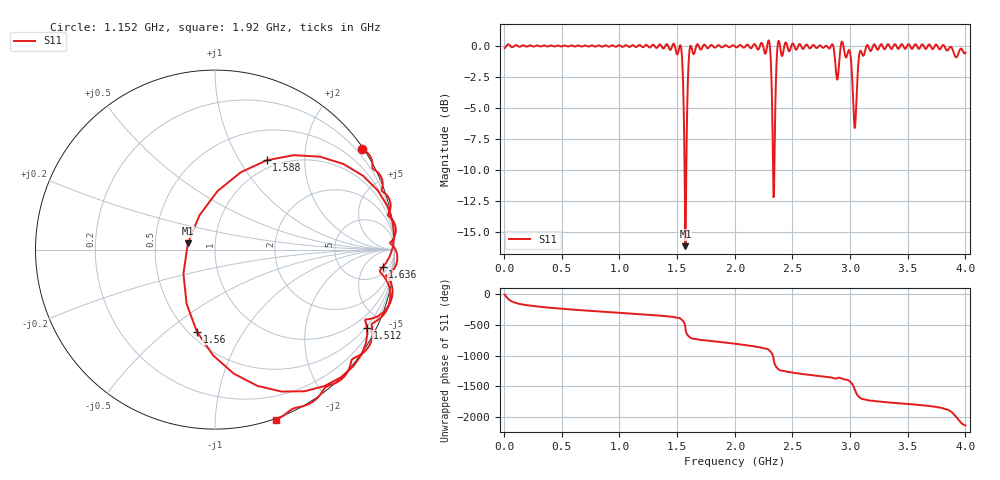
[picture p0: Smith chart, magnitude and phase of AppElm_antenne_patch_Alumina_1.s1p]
! TOUCHSTONE file generated by CST MICROWAVE STUDIO
! Date and time: Thu Jun  9 16:03:36 2022
! Project name: AppElm_antenne_patch_Alumina.cst
! Parameters = {L=30.5; W=41.8; e=0.035; h=1.6; lambda=0.190476; ls=67.5; w0=1.12; w1=0.373; ws=90; y0=14; y1=10}
! Header version: 2018
! Port assignment regex: !\s*Touchstone port\s*([0-9]+)\s*=\s*(CST MWS port|CST DS port)\s*([0-9]+|Zmin|Zmax)\s*\(\"(.*)\"\)(\s*mode\s*([0-9]+))?.*
! Touchstone port assignment:
! Touchstone port 1 = CST MWS port 1 ("")
# GHz S MA R 50
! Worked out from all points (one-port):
!   1000 points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, 4 MHz to 4 GHz, reference 50 ohm
!   lowest |S11| = -16.2 dB at 1.572 GHz (marker M1), VSWR 1.37, Z = 36.8 + j2.61 ohm
!   |S11| at or under -10 dB: 1.565 GHz to 1.58 GHz (15.01 MHz wide, 0.955 % of centre); 2.332421 GHz to 2.343134 GHz (10.71 MHz wide, 0.458 % of centre)
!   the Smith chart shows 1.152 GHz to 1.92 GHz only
!   S11 on the Smith chart (normalised r, x): 1.152 GHz: 0.04, +3.25; 1.512 GHz: 0.44, -4.08; 1.56 GHz: 0.55, -0.64; 1.588 GHz: 0.89, +1.32; 1.636 GHz: 8, -14; 1.92 GHz: -0.01, -1.42
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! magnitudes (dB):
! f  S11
! 4 MHz  -0.2
! 504 MHz  0.0
! 1.004 GHz  0.0
! 1.152 GHz  -0.1
! 1.504 GHz  -0.7
! 1.512 GHz  -0.4
! 1.54 GHz  -0.6
! 1.56 GHz  -6.6
! 1.572 GHz  -16.2
! 1.588 GHz  -4.8
! 1.608 GHz  -0.3
! 1.636 GHz  -0.5
! 1.92 GHz  0.1
! 2.004 GHz  -0.1
! 2.292 GHz  0.4
! 2.304 GHz  0.0
! 2.336 GHz  -12.2
! 2.348 GHz  -6.8
! 2.38 GHz  0.4
! 2.504 GHz  0.2
! 2.84 GHz  0.1
! 2.888 GHz  -2.7
! 2.932 GHz  0.3
! 3.004 GHz  -0.8
! 3.04 GHz  -6.6
! 3.096 GHz  -0.4
! 3.504 GHz  0.1
! 4 GHz  -0.5
